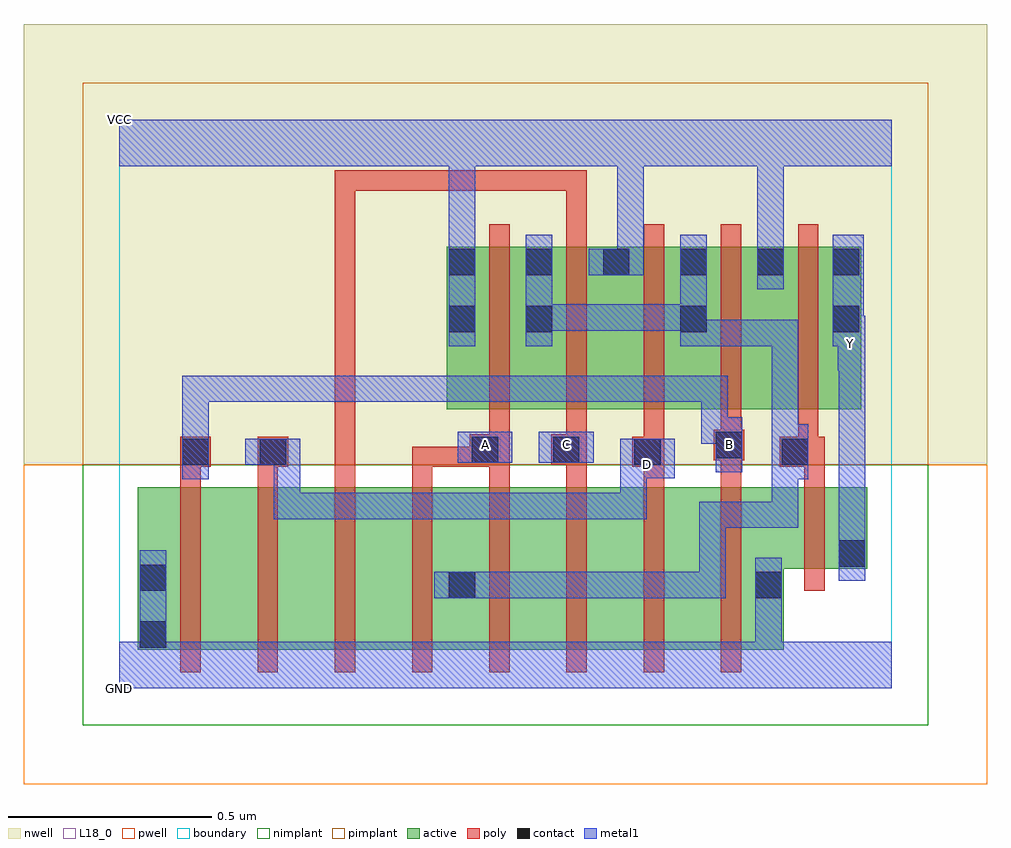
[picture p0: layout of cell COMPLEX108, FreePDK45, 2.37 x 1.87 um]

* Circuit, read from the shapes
.subckt COMPLEX108 A B C D GND VCC Y
M1 n1 B GND VSUBS nfet w=0.4u l=0.05u
M2 n2 D n1 VSUBS nfet w=0.4u l=0.05u
M3 n3 C n2 VSUBS nfet w=0.4u l=0.05u
M4 n4 A n3 VSUBS nfet w=0.4u l=0.05u
M5 n5 A n4 VSUBS nfet w=0.4u l=0.05u
M6 n6 C n5 VSUBS nfet w=0.4u l=0.05u
M7 n7 D n6 VSUBS nfet w=0.4u l=0.05u
M8 GND B n7 VSUBS nfet w=0.4u l=0.05u
M9 Y n4 GND VSUBS nfet w=0.2u l=0.05u
M10 n4 A VCC n8 pfet w=0.4u l=0.05u
M11 VCC C n4 n8 pfet w=0.4u l=0.05u
M12 n4 D VCC n8 pfet w=0.4u l=0.05u
M13 VCC B n4 n8 pfet w=0.4u l=0.05u
M14 Y n4 VCC n8 pfet w=0.4u l=0.05u
.ends

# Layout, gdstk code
import gdstk
lib = gdstk.Library(unit=1e-6, precision=1e-09)
def R(c, l, rs):  # rectangles x0, y0, x1, y1
    for r in rs: c.add(gdstk.rectangle(r[:2], r[2:], *l))
def A(c, l, x, y, w, h, nx, ny, dx, dy):  # array of equal rectangles
    R(c, l, [(x+i*dx, y+j*dy, x+i*dx+w, y+j*dy+h) for i in range(nx) for j in range(ny)])
active = (1, 0)
pwell = (2, 0)
nwell = (3, 0)
nimplant = (4, 0)
pimplant = (5, 0)
poly = (9, 0)
contact = (10, 0)
metal1 = (11, 0)
L18_0 = (18, 0)
boundary = (235, 0)

complex108 = lib.new_cell('COMPLEX108')
A(complex108, active, 0.805, 0.687, 0.265, 0.4, 4, 1, 0.19, 0)
R(complex108, active, [(0.045,0.095,0.12,0.495), (0.045,0.095,0.27,0.495), (0.27,0.095,0.46,0.495), (0.46,0.095,0.65,0.495), (0.65,0.095,0.88,0.495), (0.805,0.095,1.03,0.495), (0.805,0.095,0.88,0.492), (1.03,0.095,1.22,0.495), (1.22,0.095,1.41,0.495), (1.41,0.095,1.635,0.495), (1.56,0.095,1.635,0.495), (1.56,0.295,1.84,0.495), (1.765,0.295,1.84,0.495), (1.565,0.687,1.825,1.087), (1.75,0.687,1.825,1.087), (0.805,0.782,0.88,1.087), (0.995,0.802,1.07,1.087), (1.375,0.802,1.45,1.087), (1.565,0.872,1.64,1.087), (1.185,0.907,1.26,1.087)])
R(complex108, pwell, [(-0.235,-0.235,2.135,0.55)])
R(complex108, nwell, [(-0.235,0.55,2.135,1.635)])
R(complex108, nimplant, [(-0.09,-0.09,1.99,0.55)])
R(complex108, pimplant, [(-0.09,0.55,1.99,1.49)])
A(complex108, poly, 0.15, 0.04, 0.05, 0.51, 8, 1, 0.19, 0)
A(complex108, poly, 0.91, 0.632, 0.05, 0.51, 5, 1, 0.19, 0)
R(complex108, poly, [(1.685,0.24,1.735,0.55), (0.15,0.5,0.2,0.595), (0.34,0.5,0.39,0.595), (0.53,0.5,0.58,1.275), (0.72,0.5,0.77,0.595), (0.91,0.5,0.96,0.595), (1.1,0.5,1.15,0.6), (1.29,0.5,1.34,0.595), (1.48,0.5,1.53,0.612), (1.685,0.5,1.735,0.595), (0.15,0.545,0.225,0.62), (0.34,0.545,0.415,0.62), (0.72,0.545,0.77,0.595), (0.72,0.545,0.77,0.595), (0.72,0.545,0.77,0.595), (0.72,0.545,0.912,0.595), (0.862,0.545,0.96,0.625), (1.262,0.545,1.34,0.62), (1.625,0.545,1.735,0.62), (1.062,0.55,1.15,0.625), (1.462,0.562,1.537,0.637), (1.29,0.57,1.34,0.682), (1.67,0.57,1.72,0.682), (0.91,0.575,0.96,0.682), (1.1,0.575,1.15,0.682), (1.48,0.587,1.53,0.682), (1.1,1.092,1.15,1.275), (0.53,1.225,0.58,1.275), (0.53,1.225,0.58,1.275), (0.53,1.225,0.58,1.275), (0.53,1.225,0.58,1.275), (0.53,1.225,0.58,1.275), (0.53,1.225,0.58,1.275), (0.53,1.225,0.58,1.275), (0.53,1.225,0.755,1.275), (0.705,1.225,0.755,1.275), (0.705,1.225,0.755,1.275), (0.705,1.225,0.755,1.275), (0.705,1.225,0.755,1.275), (0.705,1.225,0.755,1.275), (0.705,1.225,0.755,1.275), (0.705,1.225,0.755,1.275), (0.705,1.225,0.902,1.275), (0.852,1.225,0.902,1.275), (0.852,1.225,0.902,1.275), (0.852,1.225,0.902,1.275), (0.852,1.225,1.15,1.275), (1.1,1.225,1.15,1.275), (1.1,1.225,1.15,1.275), (1.1,1.225,1.15,1.275)])
A(complex108, contact, 0.81, 1.017, 0.065, 0.065, 5, 1, 0.19, 0)
R(complex108, contact, [(0.05,0.1,0.115,0.165), (0.81,0.222,0.875,0.287), (1.565,0.222,1.63,0.287), (0.05,0.24,0.115,0.305), (1.77,0.3,1.835,0.365), (0.155,0.55,0.22,0.615), (0.345,0.55,0.41,0.615), (1.267,0.55,1.332,0.615), (1.63,0.55,1.695,0.615), (0.867,0.555,0.932,0.62), (1.067,0.555,1.132,0.62), (1.467,0.567,1.532,0.632), (0.81,0.877,0.875,0.942), (1,0.877,1.065,0.942), (1.38,0.877,1.445,0.942), (1.755,0.877,1.82,0.942), (1.755,1.017,1.82,1.082)])
R(complex108, metal1, [(0,0,1.9,0.115), (0.05,0.05,0.115,0.13), (1.565,0.05,1.63,0.252), (0.05,0.065,0.115,0.34), (1.565,0.187,1.63,0.322), (0.775,0.222,0.91,0.287), (0.845,0.222,0.91,0.287), (0.845,0.222,0.91,0.287), (0.845,0.222,1.082,0.287), (1.017,0.222,1.082,0.287), (1.017,0.222,1.082,0.287), (1.017,0.222,1.082,0.287), (1.017,0.222,1.305,0.287), (1.24,0.222,1.305,0.287), (1.24,0.222,1.305,0.287), (1.24,0.222,1.305,0.287), (1.24,0.222,1.492,0.287), (1.427,0.222,1.492,0.287), (1.427,0.222,1.492,0.46), (1.77,0.265,1.835,0.4), (1.77,0.335,1.835,0.847), (1.427,0.395,1.492,0.46), (1.427,0.395,1.505,0.46), (1.44,0.395,1.505,0.46), (1.44,0.395,1.67,0.46), (1.605,0.395,1.67,0.46), (1.605,0.395,1.67,0.58), (0.38,0.417,0.445,0.482), (0.38,0.417,0.582,0.482), (0.38,0.417,0.445,0.615), (0.517,0.417,0.582,0.482), (0.517,0.417,0.582,0.482), (0.517,0.417,0.582,0.482), (0.517,0.417,0.72,0.482), (0.655,0.417,0.72,0.482), (0.655,0.417,0.72,0.482), (0.655,0.417,0.72,0.482), (0.655,0.417,0.897,0.482), (0.832,0.417,0.897,0.482), (0.832,0.417,1.047,0.482), (0.982,0.417,1.047,0.482), (0.982,0.417,1.047,0.482), (0.982,0.417,1.047,0.482), (0.982,0.417,1.297,0.482), (1.232,0.417,1.297,0.482), (1.232,0.417,1.297,0.582), (0.155,0.515,0.22,0.65), (1.605,0.515,1.67,0.58), (1.605,0.515,1.67,0.58), (1.605,0.515,1.67,0.58), (1.605,0.515,1.695,0.58), (1.605,0.515,1.67,0.907), (1.63,0.515,1.695,0.65), (1.232,0.517,1.297,0.582), (1.232,0.517,1.297,0.582), (1.232,0.517,1.367,0.615), (1.467,0.532,1.532,0.667), (0.31,0.55,0.445,0.615), (0.38,0.55,0.445,0.615), (0.38,0.55,0.445,0.615), (0.832,0.555,0.967,0.632), (1.032,0.555,1.167,0.632), (0.155,0.585,0.22,0.65), (0.155,0.585,0.22,0.65), (0.155,0.585,0.22,0.77), (1.432,0.602,1.497,0.667), (1.432,0.602,1.532,0.667), (1.432,0.602,1.497,0.77), (0.155,0.705,0.22,0.77), (0.155,0.705,0.357,0.77), (0.292,0.705,0.357,0.77), (0.292,0.705,0.357,0.77), (0.292,0.705,0.357,0.77), (0.292,0.705,0.582,0.77), (0.517,0.705,0.582,0.77), (0.517,0.705,0.582,0.77), (0.517,0.705,0.582,0.77), (0.517,0.705,0.76,0.77), (0.695,0.705,0.76,0.77), (0.695,0.705,0.897,0.77), (0.832,0.705,0.897,0.77), (0.832,0.705,0.897,0.77), (0.832,0.705,0.897,0.77), (0.832,0.705,1.082,0.77), (1.017,0.705,1.082,0.77), (1.017,0.705,1.082,0.77), (1.017,0.705,1.082,0.77), (1.017,0.705,1.307,0.77), (1.242,0.705,1.307,0.77), (1.242,0.705,1.307,0.77), (1.242,0.705,1.307,0.77), (1.242,0.705,1.497,0.77), (1.432,0.705,1.497,0.77), (1.767,0.782,1.835,0.917), (0.81,0.842,0.875,1.117), (1,0.842,1.065,1.117), (1.38,0.842,1.537,0.907), (1.38,0.842,1.445,1.117), (1.472,0.842,1.537,0.907), (1.472,0.842,1.67,0.907), (1.605,0.842,1.67,0.907), (1.755,0.842,1.832,1.117), (1.767,0.842,1.832,0.907), (1,0.88,1.065,0.945), (1,0.88,1.065,0.945), (1,0.88,1.305,0.945), (1.24,0.88,1.305,0.945), (1.24,0.88,1.305,0.945), (1.24,0.88,1.305,0.945), (1.24,0.88,1.445,0.945), (1.57,0.982,1.635,1.117), (1.155,1.017,1.29,1.082), (1.225,1.017,1.29,1.082), (1.225,1.017,1.29,1.082), (1.225,1.017,1.29,1.35), (0.81,1.052,0.875,1.117), (0.81,1.052,0.875,1.117), (0.81,1.052,0.875,1.35), (1.57,1.052,1.635,1.117), (1.57,1.052,1.635,1.117), (1.57,1.052,1.635,1.35), (0,1.285,1.9,1.4)])
R(complex108, L18_0, [(0,0,1.9,0.115), (0.05,0.05,0.115,0.13), (1.565,0.05,1.63,0.252), (0.05,0.065,0.115,0.34), (1.565,0.187,1.63,0.322), (1.77,0.265,1.835,0.4), (1.77,0.335,1.835,0.847), (0.38,0.417,0.445,0.482), (0.38,0.417,0.582,0.482), (0.38,0.417,0.445,0.615), (0.517,0.417,0.582,0.482), (0.517,0.417,0.582,0.482), (0.517,0.417,0.582,0.482), (0.517,0.417,0.72,0.482), (0.655,0.417,0.72,0.482), (0.655,0.417,0.72,0.482), (0.655,0.417,0.72,0.482), (0.655,0.417,0.897,0.482), (0.832,0.417,0.897,0.482), (0.832,0.417,1.047,0.482), (0.982,0.417,1.047,0.482), (0.982,0.417,1.047,0.482), (0.982,0.417,1.047,0.482), (0.982,0.417,1.297,0.482), (1.232,0.417,1.297,0.482), (1.232,0.417,1.297,0.582), (0.155,0.515,0.22,0.65), (1.232,0.517,1.297,0.582), (1.232,0.517,1.297,0.582), (1.232,0.517,1.367,0.615), (1.267,0.517,1.332,0.582), (1.467,0.532,1.532,0.667), (0.31,0.55,0.445,0.615), (0.38,0.55,0.445,0.615), (0.38,0.55,0.445,0.615), (0.832,0.555,0.967,0.632), (1.032,0.555,1.167,0.632), (0.867,0.567,0.932,0.632), (1.067,0.567,1.132,0.632), (1.467,0.567,1.532,0.632), (0.155,0.585,0.22,0.65), (0.155,0.585,0.22,0.65), (0.155,0.585,0.22,0.77), (1.432,0.602,1.497,0.667), (1.432,0.602,1.497,0.77), (1.432,0.602,1.532,0.667), (0.155,0.705,0.22,0.77), (0.155,0.705,0.357,0.77), (0.292,0.705,0.357,0.77), (0.292,0.705,0.357,0.77), (0.292,0.705,0.357,0.77), (0.292,0.705,0.582,0.77), (0.517,0.705,0.582,0.77), (0.517,0.705,0.582,0.77), (0.517,0.705,0.582,0.77), (0.517,0.705,0.76,0.77), (0.695,0.705,0.76,0.77), (0.695,0.705,0.897,0.77), (0.832,0.705,0.897,0.77), (0.832,0.705,0.897,0.77), (0.832,0.705,0.897,0.77), (0.832,0.705,1.082,0.77), (1.017,0.705,1.082,0.77), (1.017,0.705,1.082,0.77), (1.017,0.705,1.082,0.77), (1.017,0.705,1.307,0.77), (1.242,0.705,1.307,0.77), (1.242,0.705,1.307,0.77), (1.242,0.705,1.307,0.77), (1.242,0.705,1.497,0.77), (1.432,0.705,1.497,0.77), (1.767,0.782,1.835,0.917), (1.767,0.817,1.832,0.882), (0.81,0.842,0.875,1.117), (1.755,0.842,1.832,1.117), (1.767,0.842,1.832,0.907), (1.57,0.982,1.635,1.117), (1.155,1.017,1.29,1.082), (1.225,1.017,1.29,1.082), (1.225,1.017,1.29,1.082), (1.225,1.017,1.29,1.35), (0.81,1.052,0.875,1.117), (0.81,1.052,0.875,1.117), (0.81,1.052,0.875,1.35), (1.57,1.052,1.635,1.117), (1.57,1.052,1.635,1.117), (1.57,1.052,1.635,1.35), (0,1.285,1.9,1.4)])
R(complex108, boundary, [(0,0,1.9,1.4)])
complex108.add(gdstk.Label('A', (0.9,0.6), layer=11, texttype=0))
complex108.add(gdstk.Label('B', (1.5,0.6), layer=11, texttype=0))
complex108.add(gdstk.Label('C', (1.1,0.6), layer=11, texttype=0))
complex108.add(gdstk.Label('D', (1.3,0.55), layer=11, texttype=0))
complex108.add(gdstk.Label('Y', (1.8,0.85), layer=11, texttype=0))
complex108.add(gdstk.Label('VCC', (0,1.4), layer=11, texttype=0))
complex108.add(gdstk.Label('GND', (0,0), layer=11, texttype=0))

lib.write_gds('COMPLEX108.gds')
